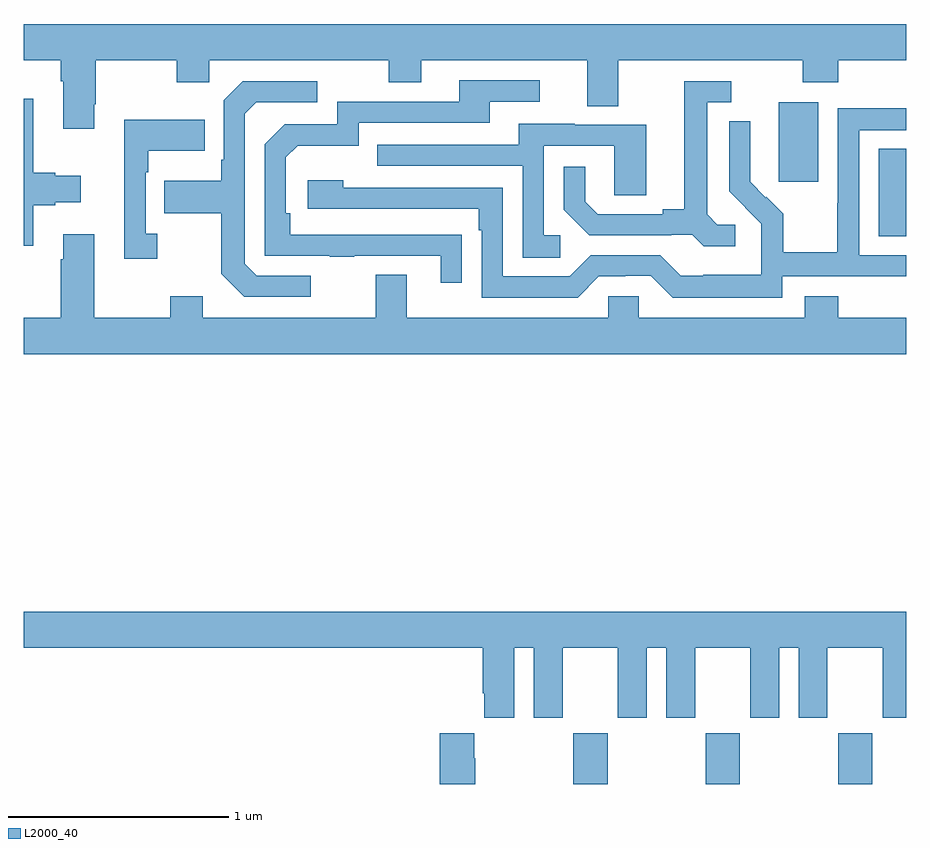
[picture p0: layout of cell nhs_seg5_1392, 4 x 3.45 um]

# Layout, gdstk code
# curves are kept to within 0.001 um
import gdstk
lib = gdstk.Library(unit=1e-6, precision=1e-09)
def R(c, l, rs):  # rectangles x0, y0, x1, y1
    for r in rs: c.add(gdstk.rectangle(r[:2], r[2:], *l))
def A(c, l, x, y, w, h, nx, ny, dx, dy):  # array of equal rectangles
    R(c, l, [(x+i*dx, y+j*dy, x+i*dx+w, y+j*dy+h) for i in range(nx) for j in range(ny)])
def P(c, l, *ps):  # polygons
    for p in ps: c.add(gdstk.Polygon(p, *l))
L2000_40 = (2000, 40)

nhs_seg5_1392 = lib.new_cell('nhs_seg5_1392')
A(nhs_seg5_1392, L2000_40, 197.491, 866.799, 0.155, 0.229, 3, 1, 0.6, 0)
R(nhs_seg5_1392, L2000_40, [(198.875,869.281,199,869.678), (198.422,869.529,198.601,869.89)])
P(nhs_seg5_1392, L2000_40, [(195.319,869.881),(195.327,869.881),(195.327,870.08),(195.694,870.08),(195.694,869.981),(195.84,869.981),(195.84,870.08),(196.654,870.08),(196.654,869.981),(196.801,869.981),(196.801,870.08),(197.555,870.08),(197.555,869.872),(197.695,869.872),(197.695,870.08),(198.532,870.08),(198.532,869.981),(198.692,869.981),(198.692,870.08),(199,870.08),(199,870.244),(195,870.244),(195,870.08),(195.167,870.08),(195.167,869.984),(195.179,869.984),(195.179,869.769),(195.319,869.769)],
  [(196.985,869.288),(196.208,869.289),(196.208,869.386),(196.188,869.386),(196.188,869.64),(196.241,869.693),(196.518,869.693),(196.518,869.796),(197.113,869.796),(197.113,869.892),(197.338,869.892),(197.338,869.988),(196.973,869.988),(196.973,869.892),(196.422,869.892),(196.422,869.79),(196.182,869.79),(196.092,869.7),(196.092,869.193),(196.387,869.193),(196.387,869.188),(196.499,869.188),(196.499,869.193),(196.889,869.193),(196.889,869.07),(196.985,869.07)],
  [(198.226,869.334),(198.144,869.334),(198.097,869.381),(198.097,869.889),(198.208,869.889),(198.208,869.985),(197.993,869.985),(197.993,869.405),(197.897,869.405),(197.897,869.382),(197.602,869.382),(197.545,869.439),(197.545,869.596),(197.448,869.596),(197.448,869.402),(197.564,869.286),(197.936,869.286),(197.936,869.289),(198.03,869.289),(198.082,869.237),(198.226,869.237)],
  [(196.3,869.103),(196.056,869.103),(196.002,869.157),(196.002,869.838),(196.053,869.889),(196.33,869.889),(196.33,869.985),(195.993,869.985),(195.906,869.898),(195.906,869.629),(195.894,869.629),(195.894,869.533),(195.637,869.533),(195.637,869.386),(195.894,869.386),(195.894,869.113),(195.999,869.007),(196.3,869.007)],
  [(195.043,869.423),(195.143,869.423),(195.143,869.435),(195.259,869.435),(195.259,869.557),(195.143,869.557),(195.143,869.57),(195.043,869.57),(195.043,869.905),(195,869.905),(195,869.238),(195.043,869.238)],
  [(198.438,869.1),(199,869.1),(199,869.196),(198.786,869.196),(198.786,869.763),(199,869.763),(199,869.862),(198.69,869.862),(198.69,869.432),(198.688,869.432),(198.688,869.209),(198.443,869.209),(198.443,869.383),(198.366,869.46),(198.363,869.457),(198.293,869.528),(198.294,869.804),(198.198,869.804),(198.198,869.486),(198.344,869.338),(198.344,869.241),(198.342,869.241),(198.342,869.107),(198.079,869.107),(198.079,869.103),(197.979,869.103),(197.886,869.196),(197.571,869.196),(197.475,869.1),(197.172,869.1),(197.172,869.502),(196.448,869.502),(196.448,869.536),(196.287,869.536),(196.287,869.406),(197.063,869.406),(197.063,869.309),(197.076,869.309),(197.076,869.004),(197.511,869.004),(197.607,869.1),(197.726,869.1),(197.726,869.103),(197.841,869.103),(197.941,869.003),(198.438,869.003)],
  [(195.604,869.294),(195.552,869.294),(195.552,869.573),(195.565,869.573),(195.565,869.669),(195.821,869.669),(195.821,869.809),(195.455,869.809),(195.455,869.181),(195.604,869.181)],
  [(197.431,869.286),(197.358,869.286),(197.358,869.691),(197.676,869.691),(197.676,869.467),(197.821,869.467),(197.821,869.787),(197.497,869.787),(197.497,869.791),(197.243,869.791),(197.243,869.697),(196.603,869.697),(196.603,869.601),(197.262,869.601),(197.262,869.185),(197.431,869.185)],
  [(199,868.912),(198.692,868.912),(198.692,869.011),(198.539,869.011),(198.539,868.912),(197.787,868.912),(197.787,869.01),(197.649,869.01),(197.649,868.912),(196.735,868.912),(196.735,869.107),(196.595,869.107),(196.595,868.912),(195.811,868.912),(195.811,869.011),(195.664,869.011),(195.664,868.912),(195.319,868.912),(195.319,869.29),(195.179,869.29),(195.179,869.177),(195.167,869.177),(195.167,868.912),(195,868.912),(195,868.748),(199,868.748)],
  [(195,867.416),(197.081,867.416),(197.081,867.211),(197.087,867.211),(197.087,867.099),(197.224,867.099),(197.224,867.416),(197.312,867.416),(197.312,867.099),(197.443,867.099),(197.443,867.416),(197.693,867.416),(197.693,867.099),(197.824,867.099),(197.824,867.416),(197.912,867.416),(197.912,867.099),(198.043,867.099),(198.043,867.416),(198.293,867.416),(198.293,867.099),(198.424,867.099),(198.424,867.416),(198.512,867.416),(198.512,867.099),(198.643,867.099),(198.643,867.416),(198.893,867.416),(198.893,867.099),(199,867.099),(199,867.58),(195,867.58)],
  [(197.046,866.915),(197.041,866.915),(197.041,867.028),(196.886,867.028),(196.886,866.799),(197.046,866.799)])

lib.write_gds('nhs_seg5_1392.gds')
